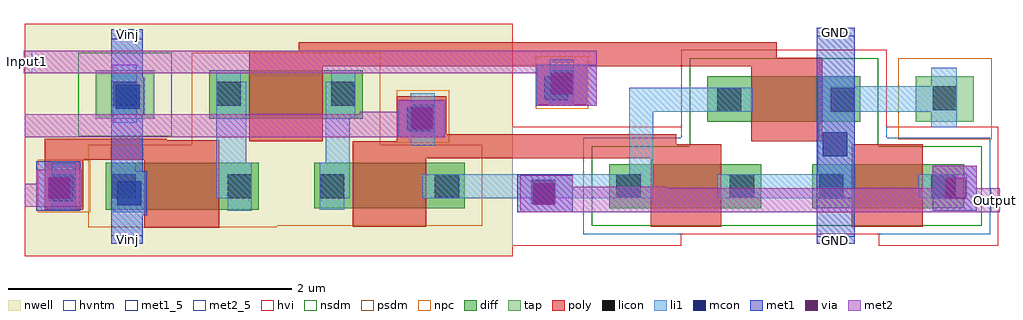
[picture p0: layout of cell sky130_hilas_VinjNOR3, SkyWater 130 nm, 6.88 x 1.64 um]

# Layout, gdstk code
import gdstk
lib = gdstk.Library(unit=1e-6, precision=1e-09)
def R(c, l, rs):  # rectangles x0, y0, x1, y1
    for r in rs: c.add(gdstk.rectangle(r[:2], r[2:], *l))
nwell = (64, 20)
diff = (65, 20)
tap = (65, 44)
poly = (66, 20)
licon = (66, 44)
li1 = (67, 20)
mcon = (67, 44)
met1_5 = (68, 5)
met1 = (68, 20)
via = (68, 44)
met2_5 = (69, 5)
met2 = (69, 20)
hvi = (75, 20)
nsdm = (93, 44)
psdm = (94, 20)
npc = (95, 20)
hvntm = (125, 20)

sky130_hilas_vinjnor3 = lib.new_cell('sky130_hilas_VinjNOR3')
R(sky130_hilas_vinjnor3, nwell, [(-3.36,1.44,0.08,3.08)])
R(sky130_hilas_vinjnor3, diff, [(-2.79,1.77,-1.71,2.1), (-1.32,1.78,-0.26,2.1), (0.76,1.78,1.83,2.09), (2.19,1.78,3.26,2.09), (1.45,2.39,2.53,2.71), (-2.06,2.41,-0.98,2.75)])
R(sky130_hilas_vinjnor3, tap, [(2.92,2.39,3.33,2.71), (-2.86,2.41,-2.45,2.75)])
R(sky130_hilas_vinjnor3, poly, [(-2.52,1.64,-1.99,2.12), (-1.05,1.65,-0.53,2.13), (1.05,1.65,1.55,2.13), (2.47,1.65,2.97,2.23), (-3.22,1.77,-2.95,2.12), (-3.22,2.12,-1.99,2.26), (-1.05,2.13,1.55,2.23), (-1.05,2.23,1.23,2.25), (-1.78,2.25,-1.26,2.78), (-0.74,2.25,1.23,2.3), (1.76,2.25,2.26,2.78), (-3.22,2.26,-2.36,2.27), (-0.74,2.3,-0.39,2.57), (0.25,2.51,0.6,2.78), (-1.78,2.78,2.26,2.84), (-1.78,2.84,1.94,2.89), (-1.43,2.89,1.94,2.95)])
R(sky130_hilas_vinjnor3, licon, [(-3.17,1.85,-3,2.02), (-2.75,1.85,-2.58,2.02), (-1.93,1.85,-1.76,2.02), (-1.28,1.85,-1.11,2.02), (-0.47,1.85,-0.3,2.02), (0.81,1.85,0.98,2.02), (1.61,1.85,1.78,2.02), (2.24,1.85,2.41,2.02), (3.03,1.85,3.2,2.02), (-0.64,2.34,-0.47,2.51), (1.52,2.46,1.69,2.63), (2.32,2.46,2.49,2.63), (3.04,2.47,3.21,2.64), (-2.74,2.5,-2.57,2.67), (-2.01,2.5,-1.84,2.67), (-1.2,2.5,-1.03,2.67), (0.34,2.58,0.51,2.75)])
R(sky130_hilas_vinjnor3, li1, [(-2.74,1.75,-2.5,1.77), (-1.93,1.76,-1.76,1.85), (-3.17,1.77,-3,1.83), (-2.75,1.77,-2.5,2.04), (-1.28,1.77,-1.11,1.85), (0.21,1.81,0.38,1.85), (-3.19,1.83,-3,2), (-2.01,1.85,-1.76,2.1), (-1.28,1.85,-1.07,2.1), (-0.56,1.85,1.07,2.02), (1.52,1.85,2.49,2.02), (2.94,1.85,3.28,2.02), (-3.17,2,-3,2.1), (0.9,2.02,1.07,2.46), (2.23,2.02,2.49,2.46), (-2.75,2.04,-2.58,2.1), (-2.01,2.1,-1.8,2.67), (-1.24,2.1,-1.07,2.42), (-0.64,2.22,-0.47,2.32), (-0.67,2.32,-0.47,2.49), (3.03,2.35,3.21,2.46), (-2.74,2.38,-2.57,2.48), (-1.24,2.42,-1.03,2.67), (0.9,2.46,1.77,2.63), (2.23,2.46,3.21,2.64), (-2.74,2.48,-2.55,2.65), (-0.64,2.49,-0.47,2.59), (0.34,2.5,0.51,2.54), (0.3,2.54,0.51,2.71), (2.23,2.64,2.49,2.71), (3.03,2.64,3.21,2.77), (-2.74,2.65,-2.57,2.79), (-2.01,2.67,-1.84,2.75), (-1.2,2.67,-1.03,2.75), (0.34,2.71,0.51,2.83)])
R(sky130_hilas_vinjnor3, mcon, [(-2.71,1.8,-2.54,1.97), (0.21,1.81,0.38,1.98), (-3.19,1.83,-3.02,2), (2.265,2.145,2.435,2.315), (-0.67,2.32,-0.5,2.49), (-2.72,2.48,-2.55,2.65), (0.3,2.54,0.47,2.71)])
R(sky130_hilas_vinjnor3, met1_5, [(-2.75,1.53,-2.53,1.59), (2.22,1.53,2.49,1.58), (-2.75,2.97,-2.53,3.04), (2.22,2.99,2.49,3.05)])
R(sky130_hilas_vinjnor3, met1, [(-2.75,1.53,-2.53,1.73), (2.22,1.53,2.49,3.05), (-2.75,1.73,-2.5,2.04), (0.11,1.75,0.5,2.02), (-3.28,1.76,-2.97,2.11), (3.04,1.76,3.35,2.08), (-2.75,2.04,-2.53,2.44), (-0.73,2.28,-0.4,2.54), (-2.75,2.44,-2.52,2.7), (0.24,2.5,0.67,2.79), (-2.75,2.7,-2.53,3.04)])
R(sky130_hilas_vinjnor3, via, [(0.225,1.805,0.375,1.955), (-3.195,1.845,-3.045,1.995), (3.125,1.845,3.275,1.995), (-0.635,2.335,-0.485,2.485), (0.355,2.585,0.505,2.735)])
R(sky130_hilas_vinjnor3, met2_5, [(3.45,1.75,3.51,1.92), (-3.37,2.73,-3.31,2.89)])
R(sky130_hilas_vinjnor3, met2, [(0.13,1.75,3.51,1.92), (-3.36,1.79,-2.96,1.95), (0.13,1.92,1.16,1.93), (3.04,1.92,3.35,2.08), (0.13,1.93,0.5,2.01), (-3.28,1.95,-2.96,2.05), (-3.36,2.28,-0.4,2.44), (-1,2.44,-0.4,2.46), (-0.73,2.46,-0.4,2.54), (0.25,2.5,0.67,2.73), (-3.37,2.73,0.67,2.89)])
R(sky130_hilas_vinjnor3, hvi, [(-3.36,1.44,0.08,1.515), (-3.36,1.515,1.265,1.595), (2.66,1.515,3.5,1.595), (-3.36,1.595,3.5,2.355), (-3.36,2.355,0.08,3.08), (1.265,2.355,2.715,2.895)])
R(sky130_hilas_vinjnor3, nsdm, [(0.635,1.655,3.385,2.215), (1.325,2.215,2.655,2.835), (-2.985,2.285,-2.325,2.875)])
R(sky130_hilas_vinjnor3, psdm, [(-2.915,1.645,-1.585,1.655), (-2.915,1.655,-0.135,2.225), (-2.185,2.225,-0.855,2.875), (2.795,2.265,3.455,2.835)])
R(sky130_hilas_vinjnor3, npc, [(-3.27,1.75,-2.9,2.12), (-0.74,2.24,-0.37,2.61), (0.24,2.48,0.61,2.85)])
R(sky130_hilas_vinjnor3, hvntm, [(0.575,1.595,3.445,2.275), (1.265,2.275,2.715,2.895)])
sky130_hilas_vinjnor3.add(gdstk.Label('Output', (3.48,1.835), layer=69, texttype=5))
sky130_hilas_vinjnor3.add(gdstk.Label('Input1', (-3.34,2.81), layer=69, texttype=5))
sky130_hilas_vinjnor3.add(gdstk.Label('GND', (2.355,3.02), layer=68, texttype=5))
sky130_hilas_vinjnor3.add(gdstk.Label('GND', (2.355,1.555), layer=68, texttype=5))
sky130_hilas_vinjnor3.add(gdstk.Label('Vinj', (-2.64,1.56), layer=68, texttype=5))
sky130_hilas_vinjnor3.add(gdstk.Label('Vinj', (-2.64,3.005), layer=68, texttype=5))

lib.write_gds('sky130_hilas_VinjNOR3.gds')
